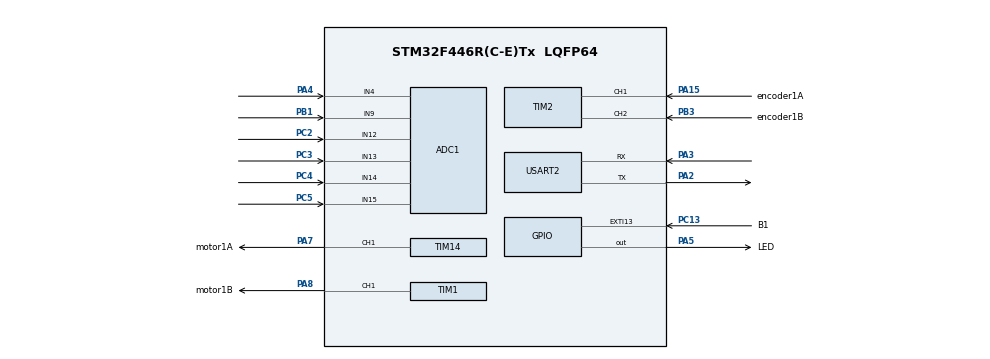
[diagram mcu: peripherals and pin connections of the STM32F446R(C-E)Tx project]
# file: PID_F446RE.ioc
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ADC1.Channel-0\#ChannelRegularConversion=ADC_CHANNEL_15
ADC1.Channel-1\#ChannelRegularConversion=ADC_CHANNEL_9
ADC1.Channel-2\#ChannelRegularConversion=ADC_CHANNEL_14
ADC1.Channel-3\#ChannelRegularConversion=ADC_CHANNEL_4
ADC1.Channel-4\#ChannelRegularConversion=ADC_CHANNEL_13
ADC1.Channel-5\#ChannelRegularConversion=ADC_CHANNEL_12
ADC1.ContinuousConvMode=DISABLE
ADC1.DiscontinuousConvMode=ENABLE
ADC1.NbrOfConversion=6
ADC1.NbrOfConversionFlag=1
ADC1.NbrOfDiscConversion=1
ADC1.Rank-0\#ChannelRegularConversion=1
ADC1.Rank-1\#ChannelRegularConversion=2
ADC1.Rank-2\#ChannelRegularConversion=3
ADC1.Rank-3\#ChannelRegularConversion=4
ADC1.Rank-4\#ChannelRegularConversion=5
ADC1.Rank-5\#ChannelRegularConversion=6
ADC1.SamplingTime-0\#ChannelRegularConversion=ADC_SAMPLETIME_3CYCLES
ADC1.SamplingTime-1\#ChannelRegularConversion=ADC_SAMPLETIME_3CYCLES
ADC1.SamplingTime-2\#ChannelRegularConversion=ADC_SAMPLETIME_3CYCLES
ADC1.SamplingTime-3\#ChannelRegularConversion=ADC_SAMPLETIME_3CYCLES
ADC1.SamplingTime-4\#ChannelRegularConversion=ADC_SAMPLETIME_3CYCLES
ADC1.SamplingTime-5\#ChannelRegularConversion=ADC_SAMPLETIME_3CYCLES
ADC1.ScanConvMode=ENABLE
ADC1.master=1
Dma.Request0=USART2_RX
Dma.Request1=USART2_TX
Dma.USART2_RX.0.Direction=DMA_PERIPH_TO_MEMORY
Dma.USART2_RX.0.FIFOMode=DMA_FIFOMODE_DISABLE
Dma.USART2_RX.0.Instance=DMA1_Stream5
Dma.USART2_RX.0.MemDataAlignment=DMA_MDATAALIGN_BYTE
Dma.USART2_RX.0.MemInc=DMA_MINC_ENABLE
Dma.USART2_RX.0.Mode=DMA_NORMAL
Dma.USART2_RX.0.PeriphDataAlignment=DMA_PDATAALIGN_BYTE
Dma.USART2_RX.0.PeriphInc=DMA_PINC_DISABLE
Dma.USART2_RX.0.Priority=DMA_PRIORITY_LOW
Dma.USART2_TX.1.Direction=DMA_MEMORY_TO_PERIPH
Dma.USART2_TX.1.FIFOMode=DMA_FIFOMODE_DISABLE
Dma.USART2_TX.1.Instance=DMA1_Stream6
Dma.USART2_TX.1.MemDataAlignment=DMA_MDATAALIGN_BYTE
Dma.USART2_TX.1.MemInc=DMA_MINC_ENABLE
Dma.USART2_TX.1.Mode=DMA_NORMAL
Dma.USART2_TX.1.PeriphDataAlignment=DMA_PDATAALIGN_BYTE
Dma.USART2_TX.1.PeriphInc=DMA_PINC_DISABLE
Dma.USART2_TX.1.Priority=DMA_PRIORITY_LOW
Mcu.Family=STM32F4
Mcu.Name=STM32F446R(C-E)Tx
Mcu.Package=LQFP64
NVIC.DMA1_Stream5_IRQn=true\:0\:0\:false\:false\:true\:false\:true\:true
NVIC.DMA1_Stream6_IRQn=true\:0\:0\:false\:false\:true\:false\:true\:true
NVIC.EXTI15_10_IRQn=true\:0\:0\:false\:false\:true\:true\:true\:true
NVIC.PriorityGroup=NVIC_PRIORITYGROUP_4
NVIC.TIM2_IRQn=true\:1\:0\:true\:false\:true\:true\:true\:true
NVIC.TIM6_DAC_IRQn=true\:3\:0\:true\:false\:true\:true\:true\:true
NVIC.USART2_IRQn=true\:2\:0\:true\:false\:true\:true\:true\:true
PA15.GPIO_Label=encoder1A
PA15.Signal=S_TIM2_CH1_ETR
PA2.Mode=Asynchronous
PA2.Signal=USART2_TX
PA3.Mode=Asynchronous
PA3.Signal=USART2_RX
PA4.Signal=ADCx_IN4
PA5.GPIO_Label=LED
PA5.Signal=GPIO_Output
PA7.GPIO_Label=motor1A
PA7.GPIO_PuPd=GPIO_NOPULL
PA7.Signal=S_TIM14_CH1
PA8.GPIO_Label=motor1B
PA8.Signal=S_TIM1_CH1
PB1.Signal=ADCx_IN9
PB3.GPIO_Label=encoder1B
PB3.Signal=S_TIM2_CH2
PC13.GPIO_Label=B1
PC13.Signal=GPXTI13
PC2.Signal=ADCx_IN12
PC3.Signal=ADCx_IN13
PC4.Signal=ADCx_IN14
PC5.Signal=ADCx_IN15
ProjectManager.HeapSize=0x200
ProjectManager.StackSize=0x400
ProjectManager.TargetToolchain=STM32CubeIDE
RCC.CortexFreq_Value=16000000
RCC.USBFreq_Value=96000000
RCC.VCOOutputFreq_Value=192000000
SH.ADCx_IN12.0=ADC1_IN12,IN12
SH.ADCx_IN13.0=ADC1_IN13,IN13
SH.ADCx_IN14.0=ADC1_IN14,IN14
SH.ADCx_IN15.0=ADC1_IN15,IN15
SH.ADCx_IN4.0=ADC1_IN4,IN4
SH.ADCx_IN9.0=ADC1_IN9,IN9
SH.S_TIM14_CH1.0=TIM14_CH1,PWM Generation1 CH1
SH.S_TIM1_CH1.0=TIM1_CH1,PWM Generation1 CH1
SH.S_TIM2_CH1_ETR.0=TIM2_CH1,Encoder_Interface
SH.S_TIM2_CH2.0=TIM2_CH2,Encoder_Interface
TIM1.AutoReloadPreload=TIM_AUTORELOAD_PRELOAD_ENABLE
TIM1.Channel-PWM\ Generation1\ CH1=TIM_CHANNEL_1
TIM1.Period=1000-1
TIM1.Prescaler=16-1
TIM14.AutoReloadPreload=TIM_AUTORELOAD_PRELOAD_ENABLE
TIM14.Channel=TIM_CHANNEL_1
TIM14.Period=1000-1
TIM14.Prescaler=16-1
TIM2.AutoReloadPreload=TIM_AUTORELOAD_PRELOAD_ENABLE
TIM2.EncoderMode=TIM_ENCODERMODE_TI12
TIM6.Period=1000-1
TIM6.Prescaler=160-1
USART2.VirtualMode=VM_ASYNC
VP_TIM14_VS_ClockSourceINT.Mode=Enable_Timer
VP_TIM6_VS_ClockSourceINT.Mode=Enable_Timer
board=custom

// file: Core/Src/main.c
/* USER CODE BEGIN Header */
/**
  ******************************************************************************
  * @file           : main.c
  * @brief          : Main program body
  ******************************************************************************
  * @attention
  *
  * Copyright (c) 2023 STMicroelectronics.
  * All rights reserved.
  *
  * This software is licensed under terms that can be found in the LICENSE file
  * in the root directory of this software component.
  * If no LICENSE file comes with this software, it is provided AS-IS.
  *
  ******************************************************************************
  */
/* USER CODE END Header */
#include "main.h"

/* USER CODE BEGIN Includes */
#include "string.h"
#include "stdio.h"
/* USER CODE END Includes */

/* USER CODE BEGIN PTD */
typedef struct _MOTOR
{
	uint32_t TargetPulse;	// from user input
	short Speed;	// calculated from encoder
	uint16_t direc;
}MOTOR;
/* USER CODE END PTD */

/* USER CODE BEGIN PD */
/*PID*/
#define kp 0.86
#define ki 0.012
#define kd 0.005

#define STOP 0
#define CW_A 1
#define CCW_B 2

#define motor1A TIM1 -> CCR1
#define motor1B TIM14 -> CCR1
#define encoderM1 TIM2 -> CNT

#define motor2A TIM1 -> CCR2
#define motor2B TIM3 -> CCR3
#define encoderM2 TIM3 -> CNT

#define motor3A TIM8 -> CCR2
#define motor3B TIM12 -> CCR1
#define encoderM3 TIM5 -> CNT

/* USER CODE END PD */

ADC_HandleTypeDef hadc1;

TIM_HandleTypeDef htim1;
TIM_HandleTypeDef htim2;
TIM_HandleTypeDef htim6;
TIM_HandleTypeDef htim14;

UART_HandleTypeDef huart2;
DMA_HandleTypeDef hdma_usart2_rx;
DMA_HandleTypeDef hdma_usart2_tx;

/* USER CODE BEGIN PV */
MOTOR motor[4];
/* USER CODE END PV */

void SystemClock_Config(void);
static void MX_GPIO_Init(void);
static void MX_DMA_Init(void);
static void MX_TIM1_Init(void);
static void MX_TIM6_Init(void);
static void MX_TIM14_Init(void);
static void MX_TIM2_Init(void);
static void MX_USART2_UART_Init(void);
static void MX_ADC1_Init(void);

/* USER CODE BEGIN 0 */
uint16_t FSRThreshold = 200;
uint16_t currentMotor = 0;
uint16_t encoderRead_flag = 0;

uint32_t Target = 0;
uint16_t direction = 0;

// ADC usage
uint16_t FSRValue[6];

void initMotor(void){
	// motor 1
	for(int i = 1;i <= 3; i++){
		motor[i].Speed = 0;
		motor[i].TargetPulse = 0;
		motor[i].direc = 0;
	}

	motor1A = 0;
	motor1B = 0;

	HAL_TIM_Encoder_Start(&htim2,TIM_CHANNEL_1 | TIM_CHANNEL_2);	// start encoderM1(timer2)
	HAL_TIM_PWM_Start(&htim1,TIM_CHANNEL_1);	// start motor1A
	HAL_TIM_PWM_Start(&htim14,TIM_CHANNEL_1);	// start motor1B
}

void errorOccur(uint16_t type,uint16_t motorNum){
	char uart_buf[100];
	int uart_buf_len;
	switch(type){
	case 1:
		uart_buf_len = sprintf(uart_buf, "Can't read motor %d encoder value\r\n",motorNum);
		HAL_UART_Transmit(&huart2, (uint8_t *)uart_buf, uart_buf_len, 100);
	case 2:
		uart_buf_len = sprintf(uart_buf, "Can't config motor %d speed\r\n",motorNum);
		HAL_UART_Transmit(&huart2, (uint8_t *)uart_buf, uart_buf_len, 100);

	}
}

// table for converting speed read from encoder(rpm),to PWM pulse value
uint32_t speed2pulse(uint32_t rpm_value){
	uint32_t pulse_value = 16 * rpm_value + 86;
	return pulse_value;
}

// table for converting ADC voltage read from FSR,to PWM pulse value
uint32_t voltage2pulse(uint32_t FSRvoltage){
	uint32_t pulse_value = FSRvoltage/10 + 100;	// input speed = 0.1*FSR_value + 100
	return pulse_value;
}

// get motor real speed (named as encoder value)
short getSpeed(uint16_t motor_num){
	short fspeed = 0;
	switch(motor_num){
	case 1:
		fspeed = (short)(encoderM1)*100/(16*4); // v = (Num/(CPR*F))/t
		encoderM1 = 0;
		return fspeed;
	default:
		errorOccur(1,motor_num);
	}
	return 0;
}

// ADC Conversion processing
void readFSRVoltage(void){
	for(int FSRNum = 0; FSRNum < 6; FSRNum ++){
       HAL_ADC_Start(&hadc1);
       HAL_ADC_PollForConversion(&hadc1,100);
       if(HAL_IS_BIT_SET(HAL_ADC_GetState(&hadc1),HAL_ADC_STATE_REG_EOC)){
    	   FSRValue[FSRNum] = (uint16_t)HAL_ADC_GetValue(&hadc1);
       }
	}
}
void changeSpeed_M1(void){
	switch(motor[1].direc){
		case STOP:	// STOP
			motor1A = 0;
			motor1B = 0;
		case CW_A:
			if(motor[1].direc == CCW_B){	//inverse
				motor1A = 0;
				motor1B = 0;
				HAL_Delay(10);	// dead time
			}
			motor1A = motor[1].TargetPulse;
		case CCW_B:
			if(motor[1].direc == CW_A){	//inverse
				motor1A = 0;
				motor1B = 0;
				HAL_Delay(10);	// dead time
			}
			motor1B = motor[1].TargetPulse;
		default:
			errorOccur(2,1);
	}
}

void changeSpeed_M2(void){
	switch(motor[2].direc){
		case STOP:	// STOP
			motor2A = 0;
			motor2B = 0;
		case CW_A:
			if(motor[2].direc == CCW_B){	//inverse
				motor2A = 0;
				motor2B = 0;
				HAL_Delay(10);	// dead time
			}
			motor2A = motor[1].TargetPulse;
		case CCW_B:
			if(motor[2].direc == CW_A){	//inverse
				motor2A = 0;
				motor2B = 0;
				HAL_Delay(10);	// dead time
			}
			motor2B = motor[2].TargetPulse;
		default:
			errorOccur(2,2);
	}
}

void changeSpeed_M3(void){
	switch(motor[3].direc){
		case STOP:	// STOP
			motor3A = 0;
			motor3B = 0;
		case CW_A:
			if(motor[3].direc == CCW_B){	//inverse
				motor3A = 0;
				motor3B = 0;
				HAL_Delay(10);	// dead time
			}
			motor3A = motor[3].TargetPulse;
		case CCW_B:
			if(motor[1].direc == CW_A){	//inverse
				motor3A = 0;
				motor3B = 0;
				HAL_Delay(10);	// dead time
			}
			motor3B = motor[3].TargetPulse;
		default:
			errorOccur(2,3);
	}
}

void changeSpeed(uint16_t motorNum){
	if(motorNum == 1) changeSpeed_M1();
	else if(motorNum == 2) changeSpeed_M2();
	else if(motorNum == 3) changeSpeed_M3();
}

//short PID_Cal(short fspeed,short *error)
//{
//	short Error = motor[1].TargetPulse - fspeed;
//	static short Error_last = 0,Error_prev = 0;
//	short pwm_add=0;
//	*error = Error;
//	pwm_add = kp*(Error - Error_last);
////	pwm_add = kp*(Error - Error_last) + ki*Error + kd*(Error-2.0f*Error_last+Error_prev);
//
//	Error_prev = Error_last;
//	Error_last = Error;
//
//	return pwm_add;
//}
/* USER CODE END 0 */

int main(void)
{
  /* USER CODE BEGIN 1 */
	char uart_buf[100];
	int uart_buf_len;

  /* USER CODE END 1 */

  /* MCU Configuration--------------------------------------------------------*/

  /* Reset of all peripherals, Initializes the Flash interface and the Systick. */
  HAL_Init();

  /* Configure the system clock */
  SystemClock_Config();

  /* Initialize all configured peripherals */
  MX_GPIO_Init();
  MX_DMA_Init();
  MX_TIM1_Init();
  MX_TIM6_Init();
  MX_TIM14_Init();
  MX_TIM2_Init();
  MX_USART2_UART_Init();
  MX_ADC1_Init();
  /* USER CODE BEGIN 2 */
  uart_buf_len = sprintf(uart_buf, "Configuring...\r\n");
  HAL_UART_Transmit(&huart2, (uint8_t *)uart_buf, uart_buf_len, 100);
  initMotor();
  // Start timer
  HAL_TIM_Base_Start_IT(&htim6);
  uart_buf_len = sprintf(uart_buf, "Test Start!\r\n");
  HAL_UART_Transmit(&huart2, (uint8_t *)uart_buf, uart_buf_len, 100);

  /* USER CODE END 2 */

  /* Infinite loop */
  /* USER CODE BEGIN WHILE */
  while (1)
  {

	  if(encoderRead_flag){
		  uart_buf_len = sprintf(uart_buf, "encoder read value %d \r\n",motor[currentMotor].Speed);
		  HAL_UART_Transmit(&huart2, (uint8_t *)uart_buf, uart_buf_len, 100);
		  uart_buf_len = sprintf(uart_buf, "pulse (from button setting) = %lu /1000, direc %d \r\n",motor[1].TargetPulse,motor[currentMotor].direc);
		  HAL_UART_Transmit(&huart2, (uint8_t *)uart_buf, uart_buf_len, 100);
		  encoderRead_flag = 0;
	  }
	  readFSRVoltage();

	  if(currentMotor == 0)	// Stationary state
	  {
		  for(int i = 0; i < 6; i++){
			  if(FSRValue[i] >= FSRThreshold){
				  currentMotor = (i + 2) / 2; // 0&1 for motor1, 2&3 for motor2, 4&5 for motor3
				  motor[currentMotor].direc = (i%2)? 1 : 2;	// mod=1(1,3,5) for CW(direc code is 1); mod=0(0,2,4) for CCW(direc code is 2)
				  break;
			  }
		  }
	  }
	  if(currentMotor != 0) // motor{currentMotor} functioning
	  {
		  int idx = (currentMotor-1)*2 + motor[currentMotor].direc % 2;
		  if(FSRValue[idx] >= FSRThreshold)
		  {
			  motor[currentMotor].TargetPulse = voltage2pulse(FSRValue[idx]);
			  changeSpeed(currentMotor);
		  }else{
			  motor[currentMotor].TargetPulse = 0;
			  motor[currentMotor].direc = 0;
			  changeSpeed(currentMotor);
			  currentMotor = 0;
		  }

	  }
	  for(int FSRNum = 0; FSRNum < 6; FSRNum ++){
		  uart_buf_len = sprintf(uart_buf, "idx[%d] value[%d]\r\n",FSRNum,FSRValue[FSRNum]);
		  HAL_UART_Transmit(&huart2, (uint8_t *)uart_buf, uart_buf_len, 100);
	  }
	  HAL_Delay(1000);

    /* USER CODE END WHILE */

  }
}

void SystemClock_Config(void)
{
  RCC_OscInitTypeDef RCC_OscInitStruct = {0};
  RCC_ClkInitTypeDef RCC_ClkInitStruct = {0};

  /** Configure the main internal regulator output voltage
  */
  __HAL_RCC_PWR_CLK_ENABLE();
  __HAL_PWR_VOLTAGESCALING_CONFIG(PWR_REGULATOR_VOLTAGE_SCALE3);

  /** Initializes the RCC Oscillators according to the specified parameters
  * in the RCC_OscInitTypeDef structure.
  */
  RCC_OscInitStruct.OscillatorType = RCC_OSCILLATORTYPE_HSI;
  RCC_OscInitStruct.HSIState = RCC_HSI_ON;
  RCC_OscInitStruct.HSICalibrationValue = RCC_HSICALIBRATION_DEFAULT;
  RCC_OscInitStruct.PLL.PLLState = RCC_PLL_NONE;
  if (HAL_RCC_OscConfig(&RCC_OscInitStruct) != HAL_OK)
  {
    Error_Handler();
  }

  /** Initializes the CPU, AHB and APB buses clocks
  */
  RCC_ClkInitStruct.ClockType = RCC_CLOCKTYPE_HCLK|RCC_CLOCKTYPE_SYSCLK
                              |RCC_CLOCKTYPE_PCLK1|RCC_CLOCKTYPE_PCLK2;
  RCC_ClkInitStruct.SYSCLKSource = RCC_SYSCLKSOURCE_HSI;
  RCC_ClkInitStruct.AHBCLKDivider = RCC_SYSCLK_DIV1;
  RCC_ClkInitStruct.APB1CLKDivider = RCC_HCLK_DIV1;
  RCC_ClkInitStruct.APB2CLKDivider = RCC_HCLK_DIV1;

  if (HAL_RCC_ClockConfig(&RCC_ClkInitStruct, FLASH_LATENCY_0) != HAL_OK)
  {
    Error_Handler();
  }
}

static void MX_ADC1_Init(void)
{

  ADC_ChannelConfTypeDef sConfig = {0};

  /** Configure the global features of the ADC (Clock, Resolution, Data Alignment and number of conversion)
  */
  hadc1.Instance = ADC1;
  hadc1.Init.ClockPrescaler = ADC_CLOCK_SYNC_PCLK_DIV2;
  hadc1.Init.Resolution = ADC_RESOLUTION_12B;
  hadc1.Init.ScanConvMode = ENABLE;
  hadc1.Init.ContinuousConvMode = DISABLE;
  hadc1.Init.DiscontinuousConvMode = ENABLE;
  hadc1.Init.NbrOfDiscConversion = 1;
  hadc1.Init.ExternalTrigConvEdge = ADC_EXTERNALTRIGCONVEDGE_NONE;
  hadc1.Init.ExternalTrigConv = ADC_SOFTWARE_START;
  hadc1.Init.DataAlign = ADC_DATAALIGN_RIGHT;
  hadc1.Init.NbrOfConversion = 6;
  hadc1.Init.DMAContinuousRequests = DISABLE;
  hadc1.Init.EOCSelection = ADC_EOC_SINGLE_CONV;
  if (HAL_ADC_Init(&hadc1) != HAL_OK)
  {
    Error_Handler();
  }

  /** Configure for the selected ADC regular channel its corresponding rank in the sequencer and its sample time.
  */
  sConfig.Channel = ADC_CHANNEL_15;
  sConfig.Rank = 1;
  sConfig.SamplingTime = ADC_SAMPLETIME_3CYCLES;
  if (HAL_ADC_ConfigChannel(&hadc1, &sConfig) != HAL_OK)
  {
    Error_Handler();
  }

  /** Configure for the selected ADC regular channel its corresponding rank in the sequencer and its sample time.
  */
  sConfig.Channel = ADC_CHANNEL_9;
  sConfig.Rank = 2;
  if (HAL_ADC_ConfigChannel(&hadc1, &sConfig) != HAL_OK)
  {
    Error_Handler();
  }

  /** Configure for the selected ADC regular channel its corresponding rank in the sequencer and its sample time.
  */
  sConfig.Channel = ADC_CHANNEL_14;
  sConfig.Rank = 3;
  if (HAL_ADC_ConfigChannel(&hadc1, &sConfig) != HAL_OK)
  {
    Error_Handler();
  }

  /** Configure for the selected ADC regular channel its corresponding rank in the sequencer and its sample time.
  */
  sConfig.Channel = ADC_CHANNEL_4;
  sConfig.Rank = 4;
  if (HAL_ADC_ConfigChannel(&hadc1, &sConfig) != HAL_OK)
  {
    Error_Handler();
  }

  /** Configure for the selected ADC regular channel its corresponding rank in the sequencer and its sample time.
  */
  sConfig.Channel = ADC_CHANNEL_13;
  sConfig.Rank = 5;
  if (HAL_ADC_ConfigChannel(&hadc1, &sConfig) != HAL_OK)
  {
    Error_Handler();
  }

  /** Configure for the selected ADC regular channel its corresponding rank in the sequencer and its sample time.
  */
  sConfig.Channel = ADC_CHANNEL_12;
  sConfig.Rank = 6;
  if (HAL_ADC_ConfigChannel(&hadc1, &sConfig) != HAL_OK)
  {
    Error_Handler();
  }

}

static void MX_TIM1_Init(void)
{

  TIM_MasterConfigTypeDef sMasterConfig = {0};
  TIM_OC_InitTypeDef sConfigOC = {0};
  TIM_BreakDeadTimeConfigTypeDef sBreakDeadTimeConfig = {0};

  htim1.Instance = TIM1;
  htim1.Init.Prescaler = 16-1;
  htim1.Init.CounterMode = TIM_COUNTERMODE_UP;
  htim1.Init.Period = 1000-1;
  htim1.Init.ClockDivision = TIM_CLOCKDIVISION_DIV1;
  htim1.Init.RepetitionCounter = 0;
  htim1.Init.AutoReloadPreload = TIM_AUTORELOAD_PRELOAD_ENABLE;
  if (HAL_TIM_PWM_Init(&htim1) != HAL_OK)
  {
    Error_Handler();
  }
  sMasterConfig.MasterOutputTrigger = TIM_TRGO_RESET;
  sMasterConfig.MasterSlaveMode = TIM_MASTERSLAVEMODE_DISABLE;
  if (HAL_TIMEx_MasterConfigSynchronization(&htim1, &sMasterConfig) != HAL_OK)
  {
    Error_Handler();
  }
  sConfigOC.OCMode = TIM_OCMODE_PWM1;
  sConfigOC.Pulse = 0;
  sConfigOC.OCPolarity = TIM_OCPOLARITY_HIGH;
  sConfigOC.OCNPolarity = TIM_OCNPOLARITY_HIGH;
  sConfigOC.OCFastMode = TIM_OCFAST_DISABLE;
  sConfigOC.OCIdleState = TIM_OCIDLESTATE_RESET;
  sConfigOC.OCNIdleState = TIM_OCNIDLESTATE_RESET;
  if (HAL_TIM_PWM_ConfigChannel(&htim1, &sConfigOC, TIM_CHANNEL_1) != HAL_OK)
  {
    Error_Handler();
  }
  sBreakDeadTimeConfig.OffStateRunMode = TIM_OSSR_DISABLE;
  sBreakDeadTimeConfig.OffStateIDLEMode = TIM_OSSI_DISABLE;
  sBreakDeadTimeConfig.LockLevel = TIM_LOCKLEVEL_OFF;
  sBreakDeadTimeConfig.DeadTime = 0;
  sBreakDeadTimeConfig.BreakState = TIM_BREAK_DISABLE;
  sBreakDeadTimeConfig.BreakPolarity = TIM_BREAKPOLARITY_HIGH;
  sBreakDeadTimeConfig.AutomaticOutput = TIM_AUTOMATICOUTPUT_DISABLE;
  if (HAL_TIMEx_ConfigBreakDeadTime(&htim1, &sBreakDeadTimeConfig) != HAL_OK)
  {
    Error_Handler();
  }
  HAL_TIM_MspPostInit(&htim1);

}

static void MX_TIM2_Init(void)
{

  TIM_Encoder_InitTypeDef sConfig = {0};
  TIM_MasterConfigTypeDef sMasterConfig = {0};

  htim2.Instance = TIM2;
  htim2.Init.Prescaler = 0;
  htim2.Init.CounterMode = TIM_COUNTERMODE_UP;
  htim2.Init.Period = 4294967295;
  htim2.Init.ClockDivision = TIM_CLOCKDIVISION_DIV1;
  htim2.Init.AutoReloadPreload = TIM_AUTORELOAD_PRELOAD_ENABLE;
  sConfig.EncoderMode = TIM_ENCODERMODE_TI12;
  sConfig.IC1Polarity = TIM_ICPOLARITY_RISING;
  sConfig.IC1Selection = TIM_ICSELECTION_DIRECTTI;
  sConfig.IC1Prescaler = TIM_ICPSC_DIV1;
  sConfig.IC1Filter = 0;
  sConfig.IC2Polarity = TIM_ICPOLARITY_RISING;
  sConfig.IC2Selection = TIM_ICSELECTION_DIRECTTI;
  sConfig.IC2Prescaler = TIM_ICPSC_DIV1;
  sConfig.IC2Filter = 0;
  if (HAL_TIM_Encoder_Init(&htim2, &sConfig) != HAL_OK)
  {
    Error_Handler();
  }
  sMasterConfig.MasterOutputTrigger = TIM_TRGO_RESET;
  sMasterConfig.MasterSlaveMode = TIM_MASTERSLAVEMODE_DISABLE;
  if (HAL_TIMEx_MasterConfigSynchronization(&htim2, &sMasterConfig) != HAL_OK)
  {
    Error_Handler();
  }

}

static void MX_TIM6_Init(void)
{

  TIM_MasterConfigTypeDef sMasterConfig = {0};

  htim6.Instance = TIM6;
  htim6.Init.Prescaler = 160-1;
  htim6.Init.CounterMode = TIM_COUNTERMODE_UP;
  htim6.Init.Period = 1000-1;
  htim6.Init.AutoReloadPreload = TIM_AUTORELOAD_PRELOAD_DISABLE;
  if (HAL_TIM_Base_Init(&htim6) != HAL_OK)
  {
    Error_Handler();
  }
  sMasterConfig.MasterOutputTrigger = TIM_TRGO_RESET;
  sMasterConfig.MasterSlaveMode = TIM_MASTERSLAVEMODE_DISABLE;
  if (HAL_TIMEx_MasterConfigSynchronization(&htim6, &sMasterConfig) != HAL_OK)
  {
    Error_Handler();
  }

}

static void MX_TIM14_Init(void)
{

  TIM_OC_InitTypeDef sConfigOC = {0};

  htim14.Instance = TIM14;
  htim14.Init.Prescaler = 16-1;
  htim14.Init.CounterMode = TIM_COUNTERMODE_UP;
  htim14.Init.Period = 1000-1;
  htim14.Init.ClockDivision = TIM_CLOCKDIVISION_DIV1;
  htim14.Init.AutoReloadPreload = TIM_AUTORELOAD_PRELOAD_ENABLE;
  if (HAL_TIM_Base_Init(&htim14) != HAL_OK)
  {
    Error_Handler();
  }
  if (HAL_TIM_PWM_Init(&htim14) != HAL_OK)
  {
    Error_Handler();
  }
  sConfigOC.OCMode = TIM_OCMODE_PWM1;
  sConfigOC.Pulse = 0;
  sConfigOC.OCPolarity = TIM_OCPOLARITY_HIGH;
  sConfigOC.OCFastMode = TIM_OCFAST_DISABLE;
  if (HAL_TIM_PWM_ConfigChannel(&htim14, &sConfigOC, TIM_CHANNEL_1) != HAL_OK)
  {
    Error_Handler();
  }
  HAL_TIM_MspPostInit(&htim14);

}

static void MX_USART2_UART_Init(void)
{

  huart2.Instance = USART2;
  huart2.Init.BaudRate = 115200;
  huart2.Init.WordLength = UART_WORDLENGTH_8B;
  huart2.Init.StopBits = UART_STOPBITS_1;
  huart2.Init.Parity = UART_PARITY_NONE;
  huart2.Init.Mode = UART_MODE_TX_RX;
  huart2.Init.HwFlowCtl = UART_HWCONTROL_NONE;
  huart2.Init.OverSampling = UART_OVERSAMPLING_16;
  if (HAL_UART_Init(&huart2) != HAL_OK)
  {
    Error_Handler();
  }

}

static void MX_DMA_Init(void)
{

  /* DMA controller clock enable */
  __HAL_RCC_DMA1_CLK_ENABLE();

  /* DMA interrupt init */
  /* DMA1_Stream5_IRQn interrupt configuration */
  HAL_NVIC_SetPriority(DMA1_Stream5_IRQn, 0, 0);
  HAL_NVIC_EnableIRQ(DMA1_Stream5_IRQn);
  /* DMA1_Stream6_IRQn interrupt configuration */
  HAL_NVIC_SetPriority(DMA1_Stream6_IRQn, 0, 0);
  HAL_NVIC_EnableIRQ(DMA1_Stream6_IRQn);

}

static void MX_GPIO_Init(void)
{
  GPIO_InitTypeDef GPIO_InitStruct = {0};

  /* GPIO Ports Clock Enable */
  __HAL_RCC_GPIOC_CLK_ENABLE();
  __HAL_RCC_GPIOA_CLK_ENABLE();
  __HAL_RCC_GPIOB_CLK_ENABLE();

  /*Configure GPIO pin Output Level */
  HAL_GPIO_WritePin(LED_GPIO_Port, LED_Pin, GPIO_PIN_RESET);

  /*Configure GPIO pin : B1_Pin */
  GPIO_InitStruct.Pin = B1_Pin;
  GPIO_InitStruct.Mode = GPIO_MODE_IT_RISING;
  GPIO_InitStruct.Pull = GPIO_NOPULL;
  HAL_GPIO_Init(B1_GPIO_Port, &GPIO_InitStruct);

  /*Configure GPIO pin : LED_Pin */
  GPIO_InitStruct.Pin = LED_Pin;
  GPIO_InitStruct.Mode = GPIO_MODE_OUTPUT_PP;
  GPIO_InitStruct.Pull = GPIO_NOPULL;
  GPIO_InitStruct.Speed = GPIO_SPEED_FREQ_LOW;
  HAL_GPIO_Init(LED_GPIO_Port, &GPIO_InitStruct);

  /* EXTI interrupt init*/
  HAL_NVIC_SetPriority(EXTI15_10_IRQn, 0, 0);
  HAL_NVIC_EnableIRQ(EXTI15_10_IRQn);

}

/* USER CODE BEGIN 4 */
void HAL_GPIO_EXTI_Callback(uint16_t GPIO_Pin)
{
  if(GPIO_Pin == B1_Pin) {	// blue button interrupt
	Target = (Target >= 500)?0:(Target+20);
	motor[1].TargetPulse = Target;
	motor1A = motor[1].TargetPulse; //change pwm pulse value __HAL_TIM_SET_COMPARE(&htim1,TIM_CHANNEL_1,Target);
  } else {
      __NOP();
  }
}

void HAL_TIM_PeriodElapsedCallback(TIM_HandleTypeDef *htim)
{
	short fspeed = 0;
	static uint8_t i = 0;
	if (htim == &htim6)	// basic clock, 100Hz(10ms)
	{
		// motor 1 encoder value
		fspeed = (short)getSpeed(currentMotor);	// get motor 1 current speed from motor1's encoder
//		fspeed = PID_Cal(fspeed,&ERROR);	// PID configure new speed for motor 1
//		SetMotorVoltageAndDirection(speed);

		i++;
		if(i >= 100)	// every 10 msec *100=1 sec
		{
			i = 0;
			motor[1].Speed = fspeed;
			encoderRead_flag = 1;
		}
	}
	if(htim == &htim2){
		// motor1 encoder counting
	}
}
/* USER CODE END 4 */

void Error_Handler(void)
{
  __disable_irq();
  while (1)
  {
  }
}
